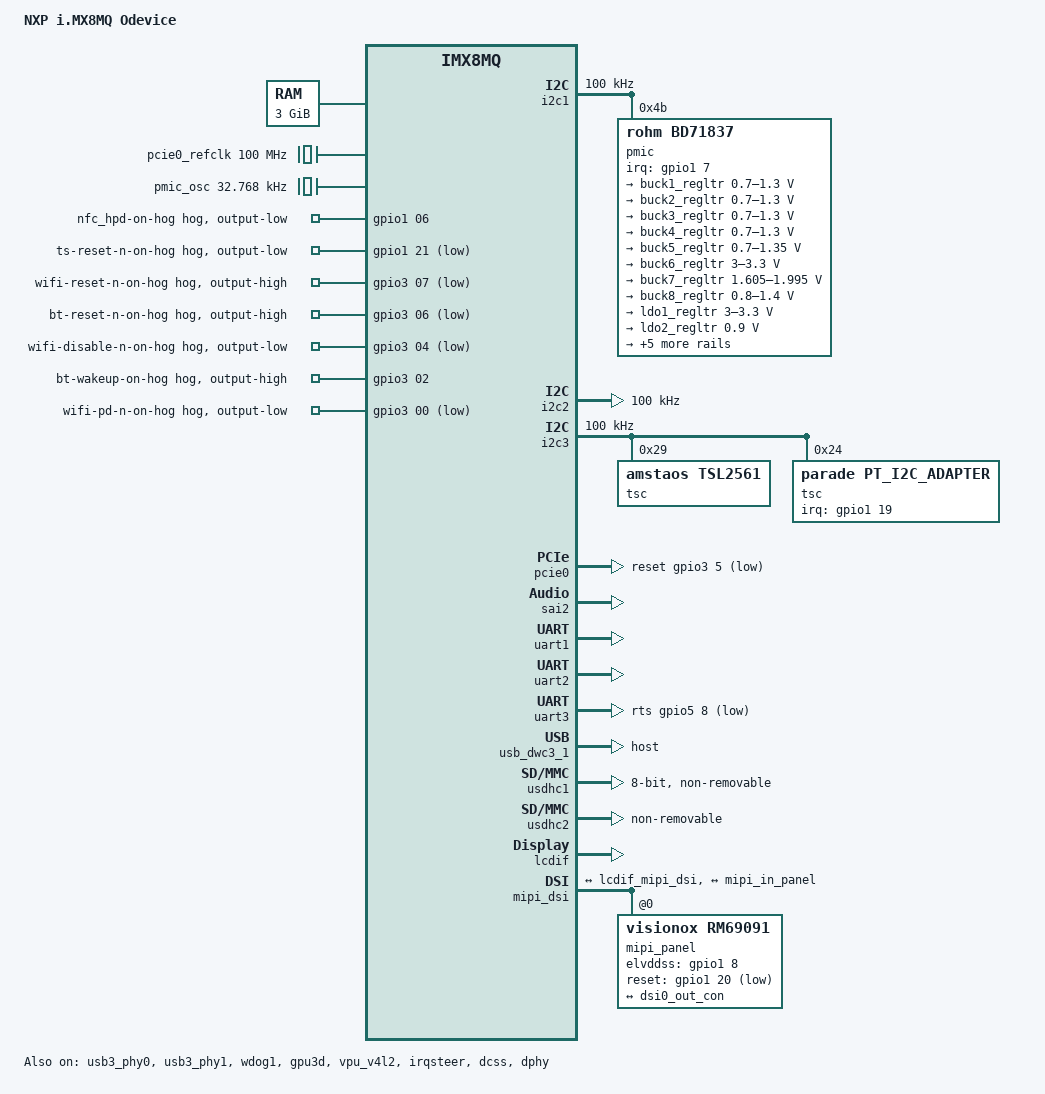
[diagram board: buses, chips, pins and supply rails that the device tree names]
// SPDX-License-Identifier: GPL-2.0
/*
 * Copyright 2024 Ocompany.
 */

/dts-v1/;

#include <dt-bindings/usb/pd.h>
#include <dt-bindings/phy/phy-imx8-pcie.h>

#include "imx8mq.dtsi"

/ {
	model = "NXP i.MX8MQ Odevice";
	compatible = "fsl,imx8mq-evk", "fsl,imx8mq";

	chosen {
		stdout-path = &uart1;
	};

	memory@40000000 {
		device_type = "memory";
		reg = <0x00000000 0x40000000 0 0xc0000000>;
	};

	resmem: reserved-memory {
		#address-cells = <2>;
		#size-cells = <2>;
		ranges;

		/* global autoconfigured region for contiguous allocations */
		linux,cma {
			compatible = "shared-dma-pool";
			reusable;
			size = <0 0x38000000>;
			alloc-ranges = <0 0x80000000 0 0x38000000>;
			linux,cma-default;
		};
	};

	pcie0_refclk: pcie0-refclk {
		compatible = "fixed-clock";
		#clock-cells = <0>;
		clock-frequency = <100000000>;
		clock-output-names = "pcie0_refclk";
	};

	pmic_osc: clock-pmic {
		compatible = "fixed-clock";
		#clock-cells = <0>;
		clock-frequency = <32768>;
		clock-output-names = "pmic_osc";
	};
};

&A53_0 {
	cpu-supply = <&buck2_regltr>;
};

&A53_1 {
	cpu-supply = <&buck2_regltr>;
};

&A53_2 {
	cpu-supply = <&buck2_regltr>;
};

&A53_3 {
	cpu-supply = <&buck2_regltr>;
};

&i2c1 {
	clock-frequency = <100000>;
	pinctrl-names = "default";
	pinctrl-0 = <&pinctrl_i2c1>;
	status = "okay";

	pmic: pmic@4b {
		compatible = "rohm,bd71837";
		reg = <0x4b>;
		pinctrl-names = "default";
		pinctrl-0 = <&pinctrl_pmic>;
		clocks = <&pmic_osc>;
		clock-names = "osc";
		clock-output-names = "pmic_clk";
		interrupt-parent = <&gpio1>;
		interrupts = <7 IRQ_TYPE_LEVEL_LOW>;
		rohm,reset-snvs-powered;

		regulators {
			buck1_regltr: BUCK1 {
				regulator-name = "buck1_regltr";
				regulator-min-microvolt = <700000>;
				regulator-max-microvolt = <1300000>;
				regulator-boot-on;
				regulator-ramp-delay = <1250>;
				rohm,dvs-run-voltage = <900000>;
				rohm,dvs-idle-voltage = <850000>;
				rohm,dvs-suspend-voltage = <800000>;
				regulator-always-on;
			};

			buck2_regltr: BUCK2 {
				regulator-name = "buck2_regltr";
				regulator-min-microvolt = <700000>;
				regulator-max-microvolt = <1300000>;
				regulator-boot-on;
				regulator-ramp-delay = <1250>;
				rohm,dvs-run-voltage = <1000000>;
				rohm,dvs-idle-voltage = <900000>;
				regulator-always-on;
			};

			buck3_regltr: BUCK3 {
				regulator-name = "buck3_regltr";
				regulator-min-microvolt = <700000>;
				regulator-max-microvolt = <1300000>;
				regulator-boot-on;
				rohm,dvs-run-voltage = <900000>;
				regulator-always-on;
			};

			buck4_regltr: BUCK4 {
				regulator-name = "buck4_regltr";
				regulator-min-microvolt = <700000>;
				regulator-max-microvolt = <1300000>;
				regulator-boot-on;
				rohm,dvs-run-voltage = <1000000>;
				regulator-always-on;
			};

			buck5_regltr: BUCK5 {
				regulator-name = "buck5_regltr";
				regulator-min-microvolt = <700000>;
				regulator-max-microvolt = <1350000>;
				regulator-boot-on;
				regulator-always-on;
			};

			buck6_regltr: BUCK6 {
				regulator-name = "buck6_regltr";
				regulator-min-microvolt = <3000000>;
				regulator-max-microvolt = <3300000>;
				regulator-boot-on;
				regulator-always-on;
			};

			buck7_regltr: BUCK7 {
				regulator-name = "buck7_regltr";
				regulator-min-microvolt = <1605000>;
				regulator-max-microvolt = <1995000>;
				regulator-boot-on;
				regulator-always-on;
			};

			buck8_regltr: BUCK8 {
				regulator-name = "buck8_regltr";
				regulator-min-microvolt = <800000>;
				regulator-max-microvolt = <1400000>;
				regulator-boot-on;
				regulator-always-on;
			};

			ldo1_regltr: LDO1 {
				regulator-name = "ldo1_regltr";
				regulator-min-microvolt = <3000000>;
				regulator-max-microvolt = <3300000>;
				regulator-boot-on;
				/* leave on for snvs power button */
				regulator-always-on;
			};

			ldo2_regltr: LDO2 {
				regulator-name = "ldo2_regltr";
				regulator-min-microvolt = <900000>;
				regulator-max-microvolt = <900000>;
				regulator-boot-on;
				/* leave on for snvs power button */
				regulator-always-on;
			};

			ldo3_regltr: LDO3 {
				regulator-name = "ldo3_regltr";
				regulator-min-microvolt = <1800000>;
				regulator-max-microvolt = <3300000>;
				regulator-boot-on;
				regulator-always-on;
			};

			ldo4_regltr: LDO4 {
				regulator-name = "ldo4_regltr";
				regulator-min-microvolt = <900000>;
				regulator-max-microvolt = <1800000>;
				/* regulator-boot-on; */
				/* regulator-always-on; */
			};

			ldo5_regltr: LDO5 {
				/* VDD_PHY_1V8 - PCIE, MIPI, USB and HDMI domains */
				regulator-name = "ldo5_regltr";
				regulator-min-microvolt = <1800000>;
				regulator-max-microvolt = <3300000>;
				regulator-always-on;
			};

			ldo6_regltr: LDO6 {
				/* VDD_PHY_0V9 - PCIE, MIPI, USB and HDMI domains */
				regulator-name = "ldo6_regltr";
				regulator-min-microvolt = <900000>;
				regulator-max-microvolt = <1800000>;
				regulator-boot-on;
				regulator-always-on;
			};

			ldo7_regltr: LDO7 {
				/* VDD_PHY_3V3 - USB domain */
				regulator-name = "ldo7_regltr";
				regulator-min-microvolt = <3000000>;
				regulator-max-microvolt = <3300000>;
				regulator-boot-on;
				regulator-always-on;
			};
		};
	};
};

&i2c2 {
	clock-frequency = <100000>;
	pinctrl-names = "default";
	pinctrl-0 = <&pinctrl_i2c2>;
	status = "okay";
};

&i2c3 {
	clock-frequency = <100000>;
	pinctrl-names = "default";
	pinctrl-0 = <&pinctrl_i2c3>;
	status = "okay";

	/*
	 * Devices on the display screen module
	 */
	tsc: als@29 {
		/*
		 * ambient light sensor
		 */
		compatible = "amstaos,tsl2561";
		reg = <0x29>;
	};

	tsc@24 {
		/*
		 * touch screen
		 */
		compatible = "parade,pt_i2c_adapter";
		reg = <0x24>;
		interrupt-parent = <&gpio1>;
		interrupts = <19 0x2>;
		parade,adapter_id = "pt_i2c_adapter";

		parade,core {
			parade,name = "pt_core";

			pinctrl-names = "default";
			pinctrl-0 = <&ts_int_active>, <&ts_reset_n>;
			parade,irq_gpio = <19>;
			parade,rst_gpio = <21>;
			parade,hid_desc_register = <1>;
			/* 
			 * PT_CORE_FLAG_NONE = 0x00
			 * PT_CORE_FLAG_POWEROFF_ON_SLEEP = 0x02
			 * PT_CORE_FLAG_RESTORE_PARAMETERS = 0x04
			 * PT_CORE_FLAG_DEEP_STANDBY = 0x08
			 * PT_CORE_FLAG_SKIP_SYS_SLEEP = 0x10
			 * PT_CORE_FLAG_SKIP_RUNTIME = 0x20
			 * PT_CORE_FLAG_SKIP_RESUME = 0x40
			 */
			parade,flags = <0>;
			/* PT_CORE_EWG_NONE */
			parade,easy_wakeup_gesture = <0>;
			/* 0:AUTO 1:PIP1_ONLY 2:PIP2_CAPABLE*/
			parade,config_dut_generation = <1>;
			/* 0:False 1:True*/
			parade,watchdog_force_stop = <0>;
			/* 
			 * PT_PANEL_ID_DISABLE = 0x00
			 * PT_PANEL_ID_BY_BL  = 0x01
			 * PT_PANEL_ID_BY_SYS_INFO  = 0x02
			 * PT_PANEL_ID_BY_MFG_DATA  = 0x04
			 */
			parade,panel_id_support = <0>;
			/* 0:PIP, 1: Hybrid HID, 2: pure HID */
			parade,protocol_mode = <0>;
			parade,btn_keys = <172 /* KEY_HOMEPAGE */
					   /* previously was KEY_HOME, new Android versions use KEY_HOMEPAGE */
				       139 /* KEY_MENU */
				       158 /* KEY_BACK */
				       217 /* KEY_SEARCH */
				       114 /* KEY_VOLUMEDOWN */
				       115 /* KEY_VOLUMEUP */
				       212 /* KEY_CAMERA */
				       116>; /* KEY_POWER */
			parade,btn_keys-tag = <0>;

			parade,mt {
				parade,name = "pt_mt";
				parade,inp_dev_name = "pt_mt";
				/*
				 * PT_MT_FLAG_NONE = 0x00
				 * PT_MT_FLAG_FLIP = 0x08
				 * PT_MT_FLAG_INV_X = 0x10
				 * PT_MT_FLAG_INV_Y = 0x20
				 * PT_MT_FLAG_VKEYS = 0x40
				 */
				parade,flags = <0x00>; /* PT_MT_FLAG_NONE */
				parade,abs =
					/* ABS_MT_POSITION_X, PT_ABS_MIN_X, PT_ABS_MAX_X, 0, 0 */
					<0x35 0 880 0 0
					/* ABS_MT_POSITION_Y, PT_ABS_MIN_Y, PT_ABS_MAX_Y, 0, 0 */
					0x36 0 1280 0 0
					/* ABS_MT_PRESSURE, PT_ABS_MIN_P, PT_ABS_MAX_P, 0, 0 */
					0x3a 0 255 0 0
					/* PT_IGNORE_VALUE, PT_ABS_MIN_W, PT_ABS_MAX_W, 0, 0 */
					0xffff 0 255 0 0
					/* ABS_MT_TRACKING_ID, PT_ABS_MIN_T, PT_ABS_MAX_T, 0, 0 */
					0x39 0 15 0 0
					/* ABS_MT_TOUCH_MAJOR, 0, 255, 0, 0 */
					0x30 0 255 0 0
					/* ABS_MT_TOUCH_MINOR, 0, 255, 0, 0 */
					0x31 0 255 0 0
					/* ABS_MT_ORIENTATION, -127, 127, 0, 0 */
					0x34 0xffffff81 127 0 0
					/* ABS_MT_TOOL_TYPE, 0, MT_TOOL_MAX, 0, 0 */
					0x37 0 1 0 0
					/* ABS_DISTANCE, 0, 255, 0, 0 */
					0x19 0 255 0 0>;

				parade,vkeys_x = <720>;
				parade,vkeys_y = <1280>;

				parade,virtual_keys = /* KeyCode CenterX CenterY Width Height */
					/* KEY_BACK */
					<158 90 1360 160 180
					/* KEY_MENU */
					139 270 1360 160 180
					/* KEY_HOMEPAGE */
					172 450 1360 160 180
					/* KEY SEARCH */
					217 630 1360 160 180>;
			};

			parade,btn {
				parade,name = "pt_btn";

				parade,inp_dev_name = "pt_btn";
			};
			
			parade,pen {
				parade,name = "pt_pen";

				parade,inp_dev_name = "pt_pen";
			};

			parade,proximity {
				parade,name = "pt_proximity";

				parade,inp_dev_name = "pt_proximity";
				parade,abs =
					/* ABS_DISTANCE, PT_PROXIMITY_MIN_VAL, PT_PROXIMITY_MAX_VAL, 0, 0 */
					<0x19 0 1 0 0>;
			};
		};
	};
};

&pcie0 {
	pinctrl-names = "default";
	pinctrl-0 = <&pinctrl_pcie0>;
	reset-gpio = <&gpio3 5 GPIO_ACTIVE_LOW>;
        clocks = <&clk IMX8MQ_CLK_PCIE1_ROOT>,
                 <&clk IMX8MQ_CLK_PCIE1_AUX>,
		 <&clk IMX8MQ_CLK_PCIE1_PHY>,
                 <&pcie0_refclk>;
        clock-names = "pcie", "pcie_aux", "pcie_phy", "pcie_bus";
	vph-supply = <&ldo7_regltr>;
        status = "okay";
};

&sai2 {
	pinctrl-names = "default";
	pinctrl-0 = <&pinctrl_sai2>;
	assigned-clocks = <&clk IMX8MQ_CLK_SAI2>;
	assigned-clock-parents = <&clk IMX8MQ_AUDIO_PLL1_OUT>;
	assigned-clock-rates = <24576000>;
	status = "okay";
};

&uart1 {
	pinctrl-names = "default";
	pinctrl-0 = <&pinctrl_uart1>;
	assigned-clocks = <&clk IMX8MQ_CLK_UART1>;
	assigned-clock-parents = <&clk IMX8MQ_CLK_25M>;
	status = "okay";
};

&uart2 {
	pinctrl-names = "default";
	pinctrl-0 = <&pinctrl_uart2>;
	assigned-clocks = <&clk IMX8MQ_CLK_UART2>;
	assigned-clock-parents = <&clk IMX8MQ_CLK_25M>;
	status = "okay";
};

&uart3 { /* Wireless/BT */
	pinctrl-names = "default";
	pinctrl-0 = <&pinctrl_uart3>;
	assigned-clocks = <&clk IMX8MQ_CLK_UART3>;
	assigned-clock-parents = <&clk IMX8MQ_SYS1_PLL_80M>;
	cts-gpios = <&gpio5 7 GPIO_ACTIVE_LOW>;
	rts-gpios = <&gpio5 8 GPIO_ACTIVE_LOW>;
	fsl,uart-has-rtscts;
	status = "okay";
};

&usb3_phy0 {
	status = "okay";
};

&usb3_phy1 {
	status = "okay";
};

&usb_dwc3_1 {
	dr_mode = "host";
	status = "okay";
};

&usdhc1 {
	assigned-clocks = <&clk IMX8MQ_CLK_USDHC1>;
	assigned-clock-rates = <400000000>;
	pinctrl-names = "default", "state_100mhz", "state_200mhz";
	pinctrl-0 = <&pinctrl_usdhc1>;
	pinctrl-1 = <&pinctrl_usdhc1_100mhz>;
	pinctrl-2 = <&pinctrl_usdhc1_200mhz>;
	bus-width = <8>;
	non-removable;
	no-sd;
	no-sdio;
	status = "okay";
};

&usdhc2 {
	assigned-clocks = <&clk IMX8MQ_CLK_USDHC2>;
	assigned-clock-rates = <200000000>;
	pinctrl-names = "default", "state_100mhz", "state_200mhz";
	pinctrl-0 = <&pinctrl_usdhc2>;
	pinctrl-1 = <&pinctrl_usdhc2_100mhz>;
	pinctrl-2 = <&pinctrl_usdhc2_200mhz>;
	non-removable;
	no-sd;
	no-sdio;
	status = "okay";
};

&wdog1 {
	pinctrl-names = "default";
	pinctrl-0 = <&pinctrl_wdog>;
	fsl,ext-reset-output;
	status = "okay";
};

&iomuxc {
	pinctrl_pmic: pmicgrp {
		fsl,pins = <
			MX8MQ_IOMUXC_GPIO1_IO07_GPIO1_IO7	0x80  /* PMIC intr Active LOW */
		>;
	};
	nfc_hpd: nfcgrp {
		fsl,pins = <
			MX8MQ_IOMUXC_GPIO1_IO06_GPIO1_IO6	0x16  /* NFC_HPD Active HIGH */
		>;
	};
	wifi_reset_n: wifigrp {
		fsl,pins = <
			MX8MQ_IOMUXC_NAND_DATA01_GPIO3_IO7	0x16  /* wifi reset Active LOW */
		>;
	};
	bt_reset_n: btgrp {
		fsl,pins = <
			MX8MQ_IOMUXC_NAND_DATA00_GPIO3_IO6	0x16  /* bt reset Active LOW */
		>;
	};
	wifi_disable_n: wifigrp {
		fsl,pins = <
			MX8MQ_IOMUXC_NAND_CE3_B_GPIO3_IO4	0x16  /* wifi disable Active LOW */
		>;
	};
	bt_wakeup: btgrp {
		fsl,pins = <
			MX8MQ_IOMUXC_NAND_CE1_B_GPIO3_IO2	0x16  /* bt wakeup Active HIGH */
		>;
	};
	wifi_pd_n: wifigrp {
		fsl,pins = <
			MX8MQ_IOMUXC_NAND_ALE_GPIO3_IO0		0x16  /* wifi pd Active LOW */
		>;
	};
	sc_elvddss_active: scrngrp {
		fsl,pins = <
			MX8MQ_IOMUXC_GPIO1_IO08_GPIO1_IO8	0x16  /* BL_ELVDD_EN Active HIGH */
		>;
	};
	sc_reset_n: scrngrp {
		fsl,pins = <
			MX8MQ_IOMUXC_ENET_TD1_GPIO1_IO20	0x16  /* Active LOW */
		>;
	};
	ts_reset_n: tsgrp {
		fsl,pins = <
			MX8MQ_IOMUXC_ENET_TD0_GPIO1_IO21	0x16  /* touch screen reset Active LOW */
		>;
	};
	ts_int_active: tsgrp {
		fsl,pins = <
			MX8MQ_IOMUXC_ENET_TD2_GPIO1_IO19	0x19 /* touch screen interrupt */
		>;
	};
	pinctrl_i2c1: i2c1grp {
		fsl,pins = <
			MX8MQ_IOMUXC_I2C1_SCL_I2C1_SCL			0x4000007f
			MX8MQ_IOMUXC_I2C1_SDA_I2C1_SDA			0x4000007f
		>;
	};

	pinctrl_i2c2: i2c2grp {
		fsl,pins = <
			MX8MQ_IOMUXC_I2C2_SCL_I2C2_SCL			0x4000007f
			MX8MQ_IOMUXC_I2C2_SDA_I2C2_SDA			0x4000007f
		>;
	};

	pinctrl_i2c3: i2c3grp {
		fsl,pins = <
			MX8MQ_IOMUXC_I2C3_SCL_I2C3_SCL			0x4000007f
			MX8MQ_IOMUXC_I2C3_SDA_I2C3_SDA			0x4000007f
		>;
	};

	pinctrl_pcie0: pcie0grp {
		fsl,pins = <
			MX8MQ_IOMUXC_I2C4_SCL_PCIE1_CLKREQ_B		0x60  /* Open drain, pull up */
			MX8MQ_IOMUXC_NAND_CLE_GPIO3_IO5			0x16  /* wifi perst Active LOW */
			MX8MQ_IOMUXC_I2C4_SDA_GPIO5_IO21		0x41  /* wifi wake Active LOW */
		>;
	};

	pinctrl_sai2: sai2grp {
		fsl,pins = <
			MX8MQ_IOMUXC_SAI2_TXFS_SAI2_TX_SYNC		0xd6 /* BT PCM transmit */
			MX8MQ_IOMUXC_SAI2_TXC_SAI2_TX_BCLK		0xd6
			MX8MQ_IOMUXC_SAI2_MCLK_SAI2_MCLK		0xd6
			MX8MQ_IOMUXC_SAI2_TXD0_SAI2_TX_DATA0		0xd6
			MX8MQ_IOMUXC_SAI2_RXFS_SAI2_RX_SYNC		0xd6 /* BT PCM receive */
			MX8MQ_IOMUXC_SAI2_RXC_SAI2_RX_BCLK		0xd6
			MX8MQ_IOMUXC_SAI2_RXD0_SAI2_RX_DATA0		0xd6
		>;
	};

	pinctrl_uart1: uart1grp {
		fsl,pins = <
			MX8MQ_IOMUXC_UART1_RXD_UART1_DCE_RX		0x49 /* M4 'linux console' */
			MX8MQ_IOMUXC_UART1_TXD_UART1_DCE_TX		0x49
		>;
	};

	pinctrl_uart2: uart2grp {
		fsl,pins = <
			MX8MQ_IOMUXC_UART2_RXD_UART2_DCE_RX		0x49 /* Debug port */
			MX8MQ_IOMUXC_UART2_TXD_UART2_DCE_TX		0x49
		>;
	};

	pinctrl_uart3: uart3grp {
		fsl,pins = <
			MX8MQ_IOMUXC_UART3_TXD_UART3_DCE_TX		0x140 /* Serial for 88W9098 */
			MX8MQ_IOMUXC_UART3_RXD_UART3_DCE_RX		0x140
			MX8MQ_IOMUXC_ECSPI1_MISO_UART3_DCE_CTS_B	0x140
			MX8MQ_IOMUXC_ECSPI1_SS0_UART3_DCE_RTS_B		0x140
		>;
	};

	pinctrl_usdhc1: usdhc1grp {
		fsl,pins = <
			MX8MQ_IOMUXC_SD1_CLK_USDHC1_CLK			0x83
			MX8MQ_IOMUXC_SD1_CMD_USDHC1_CMD			0xc3
			MX8MQ_IOMUXC_SD1_DATA0_USDHC1_DATA0		0xc3
			MX8MQ_IOMUXC_SD1_DATA1_USDHC1_DATA1		0xc3
			MX8MQ_IOMUXC_SD1_DATA2_USDHC1_DATA2		0xc3
			MX8MQ_IOMUXC_SD1_DATA3_USDHC1_DATA3		0xc3
			MX8MQ_IOMUXC_SD1_DATA4_USDHC1_DATA4		0xc3
			MX8MQ_IOMUXC_SD1_DATA5_USDHC1_DATA5		0xc3
			MX8MQ_IOMUXC_SD1_DATA6_USDHC1_DATA6		0xc3
			MX8MQ_IOMUXC_SD1_DATA7_USDHC1_DATA7		0xc3
			MX8MQ_IOMUXC_SD1_STROBE_USDHC1_STROBE		0x83
			MX8MQ_IOMUXC_SD1_RESET_B_USDHC1_RESET_B		0xc1
		>;
	};

	pinctrl_usdhc1_100mhz: usdhc1-100grp {
		fsl,pins = <
			MX8MQ_IOMUXC_SD1_CLK_USDHC1_CLK			0x8d
			MX8MQ_IOMUXC_SD1_CMD_USDHC1_CMD			0xcd
			MX8MQ_IOMUXC_SD1_DATA0_USDHC1_DATA0		0xcd
			MX8MQ_IOMUXC_SD1_DATA1_USDHC1_DATA1		0xcd
			MX8MQ_IOMUXC_SD1_DATA2_USDHC1_DATA2		0xcd
			MX8MQ_IOMUXC_SD1_DATA3_USDHC1_DATA3		0xcd
			MX8MQ_IOMUXC_SD1_DATA4_USDHC1_DATA4		0xcd
			MX8MQ_IOMUXC_SD1_DATA5_USDHC1_DATA5		0xcd
			MX8MQ_IOMUXC_SD1_DATA6_USDHC1_DATA6		0xcd
			MX8MQ_IOMUXC_SD1_DATA7_USDHC1_DATA7		0xcd
			MX8MQ_IOMUXC_SD1_STROBE_USDHC1_STROBE		0x8d
			MX8MQ_IOMUXC_SD1_RESET_B_USDHC1_RESET_B		0xc1
		>;
	};

	pinctrl_usdhc1_200mhz: usdhc1-200grp {
		fsl,pins = <
			MX8MQ_IOMUXC_SD1_CLK_USDHC1_CLK			0x9f
			MX8MQ_IOMUXC_SD1_CMD_USDHC1_CMD			0xdf
			MX8MQ_IOMUXC_SD1_DATA0_USDHC1_DATA0		0xdf
			MX8MQ_IOMUXC_SD1_DATA1_USDHC1_DATA1		0xdf
			MX8MQ_IOMUXC_SD1_DATA2_USDHC1_DATA2		0xdf
			MX8MQ_IOMUXC_SD1_DATA3_USDHC1_DATA3		0xdf
			MX8MQ_IOMUXC_SD1_DATA4_USDHC1_DATA4		0xdf
			MX8MQ_IOMUXC_SD1_DATA5_USDHC1_DATA5		0xdf
			MX8MQ_IOMUXC_SD1_DATA6_USDHC1_DATA6		0xdf
			MX8MQ_IOMUXC_SD1_DATA7_USDHC1_DATA7		0xdf
			MX8MQ_IOMUXC_SD1_STROBE_USDHC1_STROBE		0x9f
			MX8MQ_IOMUXC_SD1_RESET_B_USDHC1_RESET_B		0xc1
		>;
	};

	pinctrl_usdhc2: usdhc2grp {
		fsl,pins = <
			MX8MQ_IOMUXC_SD2_CLK_USDHC2_CLK			0x83
			MX8MQ_IOMUXC_SD2_CMD_USDHC2_CMD			0xc3
			MX8MQ_IOMUXC_SD2_DATA0_USDHC2_DATA0		0xc3
			MX8MQ_IOMUXC_SD2_DATA1_USDHC2_DATA1		0xc3
			MX8MQ_IOMUXC_SD2_DATA2_USDHC2_DATA2		0xc3
			MX8MQ_IOMUXC_SD2_DATA3_USDHC2_DATA3		0xc3
			MX8MQ_IOMUXC_SD2_RESET_B_USDHC2_RESET_B		0xc1
		>;
	};

	pinctrl_usdhc2_100mhz: usdhc2-100grp {
		fsl,pins = <
			MX8MQ_IOMUXC_SD2_CLK_USDHC2_CLK			0x85
			MX8MQ_IOMUXC_SD2_CMD_USDHC2_CMD			0xc5
			MX8MQ_IOMUXC_SD2_DATA0_USDHC2_DATA0		0xc5
			MX8MQ_IOMUXC_SD2_DATA1_USDHC2_DATA1		0xc5
			MX8MQ_IOMUXC_SD2_DATA2_USDHC2_DATA2		0xc5
			MX8MQ_IOMUXC_SD2_DATA3_USDHC2_DATA3		0xc5
			MX8MQ_IOMUXC_SD2_RESET_B_USDHC2_RESET_B		0xc1
		>;
	};

	pinctrl_usdhc2_200mhz: usdhc2-200grp {
		fsl,pins = <
			MX8MQ_IOMUXC_SD2_CLK_USDHC2_CLK			0x87
			MX8MQ_IOMUXC_SD2_CMD_USDHC2_CMD			0xc7
			MX8MQ_IOMUXC_SD2_DATA0_USDHC2_DATA0		0xc7
			MX8MQ_IOMUXC_SD2_DATA1_USDHC2_DATA1		0xc7
			MX8MQ_IOMUXC_SD2_DATA2_USDHC2_DATA2		0xc7
			MX8MQ_IOMUXC_SD2_DATA3_USDHC2_DATA3		0xc7
			MX8MQ_IOMUXC_SD2_RESET_B_USDHC2_RESET_B		0xc1
		>;
	};

	pinctrl_wdog: wdog1grp {
		fsl,pins = <
			MX8MQ_IOMUXC_GPIO1_IO02_WDOG1_WDOG_B            0xc6
		>;
	};

};

&gpu3d {
	power-supply = <&buck3_regltr>;
	status = "okay";
};

&vpu_v4l2 {
	power-supply = <&buck4_regltr>;
	status = "okay";
};

&irqsteer {
	status = "okay";
};

&dcss {
	status = "okay";
};

&lcdif {
	status = "okay";
};

&dphy {
	status = "okay";
};

&mipi_dsi {
	#address-cells = <1>;
	#size-cells = <0>;
	status = "okay";

	mipi_panel: panel@0 {
			compatible = "visionox,rm69091";
			reg = <0>;
			pinctrl-names = "default";
			pinctrl-0 = <&sc_elvddss_active>, <&sc_reset_n>;
			elvddss-gpios = <&gpio1 8 GPIO_ACTIVE_HIGH>;
			reset-gpios = <&gpio1 20 GPIO_ACTIVE_LOW>;
			dsi-lanes = <1>;
			width-mm = <30>;
			height-mm = <40>;
			ports {
				#address-cells = <1>;
				#size-cells = <0>;

				port@0 {
					reg = <0>;

					mipi_in_panel: endpoint {
					remote-endpoint = <&dsi0_out_con>;
				};
			};
		};
	};
/delete-node/ ports;
	ports {
		#address-cells = <1>;
		#size-cells = <0>;

		dsi0_in: port@0 {
			reg = <0>;
		};

		dsi0_out: port@1 {
			reg = <1>;
		};
	};

};

&dsi0_in {
	#address-cells = <1>;
	#size-cells = <0>;

	mipi_dsi_lcdif_in: endpoint {
	remote-endpoint = <&lcdif_mipi_dsi>;
	};
};

&dsi0_out {
	#address-cells = <1>;
	#size-cells = <0>;

	dsi0_out_con: endpoint {
		remote-endpoint = <&mipi_in_panel>;
	};
};

&gpio1 {
        pinctrl-names = "default";
        pinctrl-0 = <&nfc_hpd>, <&ts_reset_n>;
        nfc_hpd-on-hog {
                gpio-hog;
                gpios = <06 GPIO_ACTIVE_HIGH>; /* hog nfc_hpd 'hard power down' low */
                output-low;
        };
        ts-reset-n-on-hog {
                gpio-hog;
                gpios = <21 GPIO_ACTIVE_LOW>; /* hog touch screen reset low */
                output-low;
        };
};

&gpio3 {
        pinctrl-names = "default";
        pinctrl-0 = <&wifi_reset_n>, <&bt_reset_n>, <&wifi_disable_n>, <&bt_wakeup>, <&wifi_pd_n>;
        wifi-reset-n-on-hog {
                gpio-hog;
                gpios = <07 GPIO_ACTIVE_LOW>;
                output-high;
        };
        bt-reset-n-on-hog {
                gpio-hog;
                gpios = <06 GPIO_ACTIVE_LOW>;
                output-high;
        };
        wifi-disable-n-on-hog {
                gpio-hog;
                gpios = <04 GPIO_ACTIVE_LOW>;
                output-low;
        };
        bt-wakeup-on-hog {
                gpio-hog;
                gpios = <02 GPIO_ACTIVE_HIGH>;
                output-high;
        };
        wifi-pd-n-on-hog {
                gpio-hog;
                gpios = <00 GPIO_ACTIVE_LOW>;
                output-low;
        };
};
